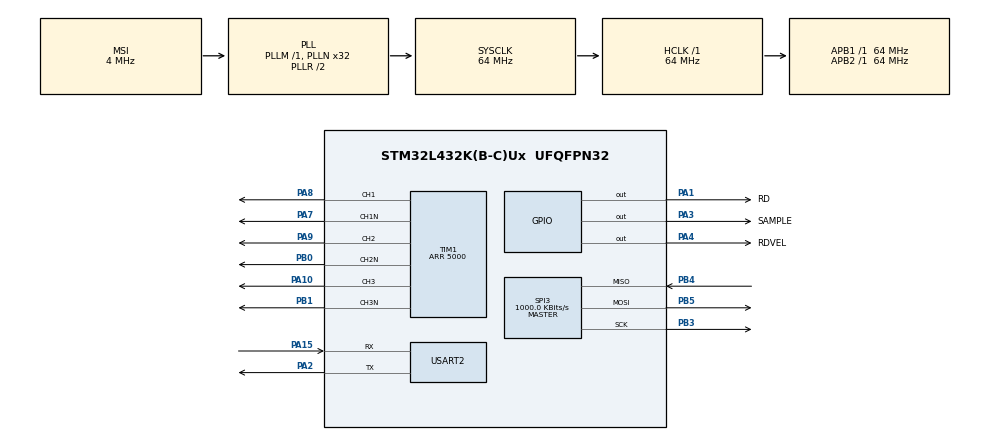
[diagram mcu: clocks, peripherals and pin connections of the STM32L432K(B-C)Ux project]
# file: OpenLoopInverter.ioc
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Mcu.Family=STM32L4
Mcu.Name=STM32L432K(B-C)Ux
Mcu.Package=UFQFPN32
NVIC.PriorityGroup=NVIC_PRIORITYGROUP_4
NVIC.TIM6_DAC_IRQn=true\:0\:0\:false\:false\:true\:true\:true\:true
PA0.Mode=HSE-External-Clock-Source-for-LittleOrca
PA0.Signal=RCC_CK_IN
PA1.GPIO_Label=RD
PA1.GPIO_Speed=GPIO_SPEED_FREQ_VERY_HIGH
PA1.Signal=GPIO_Output
PA10.Signal=S_TIM1_CH3
PA15\ (JTDI).Mode=Asynchronous
PA15\ (JTDI).Signal=USART2_RX
PA2.Mode=Asynchronous
PA2.Signal=USART2_TX
PA3.GPIO_Label=SAMPLE
PA3.GPIO_Speed=GPIO_SPEED_FREQ_VERY_HIGH
PA3.Signal=GPIO_Output
PA4.GPIO_Label=RDVEL
PA4.GPIO_Speed=GPIO_SPEED_FREQ_VERY_HIGH
PA4.Signal=GPIO_Output
PA7.Mode=PWM Generation1 CH1 CH1N
PA7.Signal=TIM1_CH1N
PA8.Signal=S_TIM1_CH1
PA9.Signal=S_TIM1_CH2
PB0.Mode=PWM Generation2 CH2 CH2N
PB0.Signal=TIM1_CH2N
PB1.Mode=PWM Generation3 CH3 CH3N
PB1.Signal=TIM1_CH3N
PB3\ (JTDO-TRACESWO).Mode=Full_Duplex_Master
PB3\ (JTDO-TRACESWO).Signal=SPI3_SCK
PB4\ (NJTRST).Mode=Full_Duplex_Master
PB4\ (NJTRST).Signal=SPI3_MISO
PB5.Mode=Full_Duplex_Master
PB5.Signal=SPI3_MOSI
ProjectManager.HeapSize=0x200
ProjectManager.StackSize=0x400
ProjectManager.TargetToolchain=STM32CubeIDE
RCC.ADCFreq_Value=16000000
RCC.AHBFreq_Value=64000000
RCC.APB1Freq_Value=64000000
RCC.APB1TimFreq_Value=64000000
RCC.APB2Freq_Value=64000000
RCC.APB2TimFreq_Value=64000000
RCC.CortexFreq_Value=64000000
RCC.HCLKFreq_Value=64000000
RCC.HSE_VALUE=8000000
RCC.HSI48_VALUE=48000000
RCC.HSI_VALUE=16000000
RCC.LSE_VALUE=32768
RCC.MSI_VALUE=4000000
RCC.PLLN=32
RCC.SYSCLKFreq_VALUE=64000000
RCC.SYSCLKSource=RCC_SYSCLKSOURCE_PLLCLK
RCC.USBFreq_Value=16000000
RCC.VCOOutputFreq_Value=128000000
SH.S_TIM1_CH1.0=TIM1_CH1,PWM Generation1 CH1 CH1N
SH.S_TIM1_CH2.0=TIM1_CH2,PWM Generation2 CH2 CH2N
SH.S_TIM1_CH3.0=TIM1_CH3,PWM Generation3 CH3 CH3N
SPI3.BaudRatePrescaler=SPI_BAUDRATEPRESCALER_64
SPI3.CLKPolarity=SPI_POLARITY_HIGH
SPI3.CalculateBaudRate=1000.0 KBits/s
SPI3.DataSize=SPI_DATASIZE_16BIT
SPI3.Direction=SPI_DIRECTION_2LINES
SPI3.Mode=SPI_MODE_MASTER
SPI3.VirtualType=VM_MASTER
TIM1.AutomaticOutput=TIM_AUTOMATICOUTPUT_ENABLE
TIM1.BreakFilter=0
TIM1.BreakPolarity=TIM_BREAKPOLARITY_LOW
TIM1.BreakState=TIM_BREAK_DISABLE
TIM1.Channel-PWM\ Generation1\ CH1\ CH1N=TIM_CHANNEL_1
TIM1.Channel-PWM\ Generation2\ CH2\ CH2N=TIM_CHANNEL_2
TIM1.Channel-PWM\ Generation3\ CH3\ CH3N=TIM_CHANNEL_3
TIM1.DeadTime=20
TIM1.OCNIdleState_1=TIM_OCNIDLESTATE_RESET
TIM1.OCNPolarity_1=TIM_OCNPOLARITY_LOW
TIM1.OffStateIDLEMode=TIM_OSSI_ENABLE
TIM1.OffStateRunMode=TIM_OSSR_ENABLE
TIM1.Period=5000
TIM1.Pulse-PWM\ Generation1\ CH1\ CH1N=100
TIM6.AutoReloadPreload=TIM_AUTORELOAD_PRELOAD_DISABLE
TIM6.Period=1000
TIM6.Prescaler=65
USART2.VirtualMode-Asynchronous=VM_ASYNC
VP_TIM6_VS_ClockSourceINT.Mode=Enable_Timer
board=custom

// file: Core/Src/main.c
/* USER CODE BEGIN Header */
/**
  ******************************************************************************
  * @file           : main.c
  * @brief          : Main program body
  ******************************************************************************
  * @attention
  *
  * Copyright (c) 2023 STMicroelectronics.
  * All rights reserved.
  *
  * This software is licensed under terms that can be found in the LICENSE file
  * in the root directory of this software component.
  * If no LICENSE file comes with this software, it is provided AS-IS.
  *
  ******************************************************************************
  */
/* USER CODE END Header */
#include "main.h"

/* USER CODE BEGIN Includes */
#include "inverter.h"
#include "math.h"
#include "string.h"
#include "stdio.h"
/* USER CODE END Includes */

/* USER CODE BEGIN PD */
double time;
/* USER CODE END PD */

SPI_HandleTypeDef hspi3;

TIM_HandleTypeDef htim1;
TIM_HandleTypeDef htim6;

UART_HandleTypeDef huart2;

void SystemClock_Config(void);
static void MX_GPIO_Init(void);
static void MX_TIM1_Init(void);
static void MX_SPI3_Init(void);
static void MX_USART2_UART_Init(void);
static void MX_TIM6_Init(void);

/* USER CODE BEGIN 0 */
volatile inverter_t inv={0};
volatile int i=0;
volatile uint16_t pos=0;
volatile int counter =0;
/* USER CODE END 0 */

int main(void)
{

  /* MCU Configuration--------------------------------------------------------*/

  /* Reset of all peripherals, Initializes the Flash interface and the Systick. */
  HAL_Init();

  /* Configure the system clock */
  SystemClock_Config();

  /* Initialize all configured peripherals */
  MX_GPIO_Init();
  MX_TIM1_Init();
  MX_SPI3_Init();
  MX_USART2_UART_Init();
  MX_TIM6_Init();
  /* USER CODE BEGIN 2 */

//
    inv.poles[0].timer_handler = &htim1;
    inv.poles[0].channel = TIM_CHANNEL_1;

    inv.poles[1].timer_handler = &htim1;
    inv.poles[1].channel = TIM_CHANNEL_2;

    inv.poles[2].timer_handler = &htim1;
    inv.poles[2].channel = TIM_CHANNEL_3;
    inv.resolver.spi_handler = &hspi3;

    //
  inv_init(&inv);

  /* USER CODE END 2 */

  /* Infinite loop */
  /* USER CODE BEGIN WHILE */

    htim1.Instance->CNT=0;

    HAL_NVIC_SetPriority(TIM6_IRQn,1,1);
    HAL_NVIC_EnableIRQ(TIM6_IRQn);
    HAL_TIM_Base_Start_IT(&htim6);

//    HAL_TIM_Base_Start(&htim6);
//htim6.Instance.

    while (1)
  {
    /* USER CODE END WHILE */

    /* USER CODE BEGIN 3 */
      printf("Odczyt pos: %d\r\n vel: %d \r\n", inv.resolver.position, inv.resolver.speed);
      uint8_t data;
      if(HAL_UART_Receive(&huart2,&data,1,10) == HAL_OK)
      {
          if(data == 'w')  counter++;
      }
      HAL_Delay(10);

  }
  /* USER CODE END 3 */
}

void SystemClock_Config(void)
{
  RCC_OscInitTypeDef RCC_OscInitStruct = {0};
  RCC_ClkInitTypeDef RCC_ClkInitStruct = {0};

  /** Configure the main internal regulator output voltage
  */
  if (HAL_PWREx_ControlVoltageScaling(PWR_REGULATOR_VOLTAGE_SCALE1) != HAL_OK)
  {
    Error_Handler();
  }

  /** Initializes the RCC Oscillators according to the specified parameters
  * in the RCC_OscInitTypeDef structure.
  */
  RCC_OscInitStruct.OscillatorType = RCC_OSCILLATORTYPE_MSI;
  RCC_OscInitStruct.MSIState = RCC_MSI_ON;
  RCC_OscInitStruct.MSICalibrationValue = 0;
  RCC_OscInitStruct.MSIClockRange = RCC_MSIRANGE_6;
  RCC_OscInitStruct.PLL.PLLState = RCC_PLL_ON;
  RCC_OscInitStruct.PLL.PLLSource = RCC_PLLSOURCE_MSI;
  RCC_OscInitStruct.PLL.PLLM = 1;
  RCC_OscInitStruct.PLL.PLLN = 32;
  RCC_OscInitStruct.PLL.PLLP = RCC_PLLP_DIV7;
  RCC_OscInitStruct.PLL.PLLQ = RCC_PLLQ_DIV2;
  RCC_OscInitStruct.PLL.PLLR = RCC_PLLR_DIV2;
  if (HAL_RCC_OscConfig(&RCC_OscInitStruct) != HAL_OK)
  {
    Error_Handler();
  }

  /** Initializes the CPU, AHB and APB buses clocks
  */
  RCC_ClkInitStruct.ClockType = RCC_CLOCKTYPE_HCLK|RCC_CLOCKTYPE_SYSCLK
                              |RCC_CLOCKTYPE_PCLK1|RCC_CLOCKTYPE_PCLK2;
  RCC_ClkInitStruct.SYSCLKSource = RCC_SYSCLKSOURCE_PLLCLK;
  RCC_ClkInitStruct.AHBCLKDivider = RCC_SYSCLK_DIV1;
  RCC_ClkInitStruct.APB1CLKDivider = RCC_HCLK_DIV1;
  RCC_ClkInitStruct.APB2CLKDivider = RCC_HCLK_DIV1;

  if (HAL_RCC_ClockConfig(&RCC_ClkInitStruct, FLASH_LATENCY_3) != HAL_OK)
  {
    Error_Handler();
  }
}

static void MX_SPI3_Init(void)
{

  /* SPI3 parameter configuration*/
  hspi3.Instance = SPI3;
  hspi3.Init.Mode = SPI_MODE_MASTER;
  hspi3.Init.Direction = SPI_DIRECTION_2LINES;
  hspi3.Init.DataSize = SPI_DATASIZE_16BIT;
  hspi3.Init.CLKPolarity = SPI_POLARITY_HIGH;
  hspi3.Init.CLKPhase = SPI_PHASE_1EDGE;
  hspi3.Init.NSS = SPI_NSS_SOFT;
  hspi3.Init.BaudRatePrescaler = SPI_BAUDRATEPRESCALER_64;
  hspi3.Init.FirstBit = SPI_FIRSTBIT_MSB;
  hspi3.Init.TIMode = SPI_TIMODE_DISABLE;
  hspi3.Init.CRCCalculation = SPI_CRCCALCULATION_DISABLE;
  hspi3.Init.CRCPolynomial = 7;
  hspi3.Init.CRCLength = SPI_CRC_LENGTH_DATASIZE;
  hspi3.Init.NSSPMode = SPI_NSS_PULSE_ENABLE;
  if (HAL_SPI_Init(&hspi3) != HAL_OK)
  {
    Error_Handler();
  }

}

static void MX_TIM1_Init(void)
{

  TIM_MasterConfigTypeDef sMasterConfig = {0};
  TIM_OC_InitTypeDef sConfigOC = {0};
  TIM_BreakDeadTimeConfigTypeDef sBreakDeadTimeConfig = {0};

  htim1.Instance = TIM1;
  htim1.Init.Prescaler = 0;
  htim1.Init.CounterMode = TIM_COUNTERMODE_UP;
  htim1.Init.Period = 5000;
  htim1.Init.ClockDivision = TIM_CLOCKDIVISION_DIV1;
  htim1.Init.RepetitionCounter = 0;
  htim1.Init.AutoReloadPreload = TIM_AUTORELOAD_PRELOAD_DISABLE;
  if (HAL_TIM_PWM_Init(&htim1) != HAL_OK)
  {
    Error_Handler();
  }
  sMasterConfig.MasterOutputTrigger = TIM_TRGO_RESET;
  sMasterConfig.MasterOutputTrigger2 = TIM_TRGO2_RESET;
  sMasterConfig.MasterSlaveMode = TIM_MASTERSLAVEMODE_DISABLE;
  if (HAL_TIMEx_MasterConfigSynchronization(&htim1, &sMasterConfig) != HAL_OK)
  {
    Error_Handler();
  }
  sConfigOC.OCMode = TIM_OCMODE_PWM1;
  sConfigOC.Pulse = 100;
  sConfigOC.OCPolarity = TIM_OCPOLARITY_HIGH;
  sConfigOC.OCNPolarity = TIM_OCNPOLARITY_LOW;
  sConfigOC.OCFastMode = TIM_OCFAST_DISABLE;
  sConfigOC.OCIdleState = TIM_OCIDLESTATE_RESET;
  sConfigOC.OCNIdleState = TIM_OCNIDLESTATE_RESET;
  if (HAL_TIM_PWM_ConfigChannel(&htim1, &sConfigOC, TIM_CHANNEL_1) != HAL_OK)
  {
    Error_Handler();
  }
  sConfigOC.Pulse = 0;
  sConfigOC.OCNPolarity = TIM_OCNPOLARITY_HIGH;
  if (HAL_TIM_PWM_ConfigChannel(&htim1, &sConfigOC, TIM_CHANNEL_2) != HAL_OK)
  {
    Error_Handler();
  }
  if (HAL_TIM_PWM_ConfigChannel(&htim1, &sConfigOC, TIM_CHANNEL_3) != HAL_OK)
  {
    Error_Handler();
  }
  sBreakDeadTimeConfig.OffStateRunMode = TIM_OSSR_ENABLE;
  sBreakDeadTimeConfig.OffStateIDLEMode = TIM_OSSI_ENABLE;
  sBreakDeadTimeConfig.LockLevel = TIM_LOCKLEVEL_OFF;
  sBreakDeadTimeConfig.DeadTime = 20;
  sBreakDeadTimeConfig.BreakState = TIM_BREAK_DISABLE;
  sBreakDeadTimeConfig.BreakPolarity = TIM_BREAKPOLARITY_LOW;
  sBreakDeadTimeConfig.BreakFilter = 0;
  sBreakDeadTimeConfig.Break2State = TIM_BREAK2_DISABLE;
  sBreakDeadTimeConfig.Break2Polarity = TIM_BREAK2POLARITY_HIGH;
  sBreakDeadTimeConfig.Break2Filter = 0;
  sBreakDeadTimeConfig.AutomaticOutput = TIM_AUTOMATICOUTPUT_ENABLE;
  if (HAL_TIMEx_ConfigBreakDeadTime(&htim1, &sBreakDeadTimeConfig) != HAL_OK)
  {
    Error_Handler();
  }
  HAL_TIM_MspPostInit(&htim1);

}

static void MX_TIM6_Init(void)
{

  TIM_MasterConfigTypeDef sMasterConfig = {0};

  htim6.Instance = TIM6;
  htim6.Init.Prescaler = 65;
  htim6.Init.CounterMode = TIM_COUNTERMODE_UP;
  htim6.Init.Period = 1000;
  htim6.Init.AutoReloadPreload = TIM_AUTORELOAD_PRELOAD_DISABLE;
  if (HAL_TIM_Base_Init(&htim6) != HAL_OK)
  {
    Error_Handler();
  }
  sMasterConfig.MasterOutputTrigger = TIM_TRGO_RESET;
  sMasterConfig.MasterSlaveMode = TIM_MASTERSLAVEMODE_DISABLE;
  if (HAL_TIMEx_MasterConfigSynchronization(&htim6, &sMasterConfig) != HAL_OK)
  {
    Error_Handler();
  }

}

static void MX_USART2_UART_Init(void)
{

  huart2.Instance = USART2;
  huart2.Init.BaudRate = 115200;
  huart2.Init.WordLength = UART_WORDLENGTH_8B;
  huart2.Init.StopBits = UART_STOPBITS_1;
  huart2.Init.Parity = UART_PARITY_NONE;
  huart2.Init.Mode = UART_MODE_TX_RX;
  huart2.Init.HwFlowCtl = UART_HWCONTROL_NONE;
  huart2.Init.OverSampling = UART_OVERSAMPLING_16;
  huart2.Init.OneBitSampling = UART_ONE_BIT_SAMPLE_DISABLE;
  huart2.AdvancedInit.AdvFeatureInit = UART_ADVFEATURE_NO_INIT;
  if (HAL_UART_Init(&huart2) != HAL_OK)
  {
    Error_Handler();
  }

}

static void MX_GPIO_Init(void)
{
  GPIO_InitTypeDef GPIO_InitStruct = {0};

  /* GPIO Ports Clock Enable */
  __HAL_RCC_GPIOA_CLK_ENABLE();
  __HAL_RCC_GPIOB_CLK_ENABLE();

  /*Configure GPIO pin Output Level */
  HAL_GPIO_WritePin(GPIOA, RD_Pin|SAMPLE_Pin|RDVEL_Pin, GPIO_PIN_RESET);

  /*Configure GPIO pins : RD_Pin SAMPLE_Pin RDVEL_Pin */
  GPIO_InitStruct.Pin = RD_Pin|SAMPLE_Pin|RDVEL_Pin;
  GPIO_InitStruct.Mode = GPIO_MODE_OUTPUT_PP;
  GPIO_InitStruct.Pull = GPIO_NOPULL;
  GPIO_InitStruct.Speed = GPIO_SPEED_FREQ_VERY_HIGH;
  HAL_GPIO_Init(GPIOA, &GPIO_InitStruct);

}

/* USER CODE BEGIN 4 */
int __io_putchar(int ch)
{
    HAL_UART_Transmit(&huart2, (uint8_t*)&ch, 1, HAL_MAX_DELAY);
    return 1;
}

void HAL_TIM_PeriodElapsedCallback(TIM_HandleTypeDef *htim) {
    HAL_GPIO_WritePin(RD_GPIO_Port,RD_Pin,1);
    HAL_GPIO_WritePin(RDVEL_GPIO_Port,RDVEL_Pin,1);
    HAL_GPIO_WritePin(SAMPLE_GPIO_Port,SAMPLE_Pin,1);
//    inv.high_side_pulse[0] = i %1000;

    uint8_t data[2];

    time = -2*3.1415*i/400.f; //10Hz /4/5?

   inv.voltage_vector.argument = -inv.resolver.vector.argument+M_PI/2+0.1;
//   inv.voltage_vector.argument = -0;
//    inv.voltage_vector.argument = 0*M_PI;
    inv.voltage_vector.value =1.f;

    inv_voltage_vector_apply(&inv,&inv.voltage_vector);

    res_read_position(&inv.resolver);

    i++;
}
/* USER CODE END 4 */

void Error_Handler(void)
{
  __disable_irq();
  while (1)
  {
  }
}
